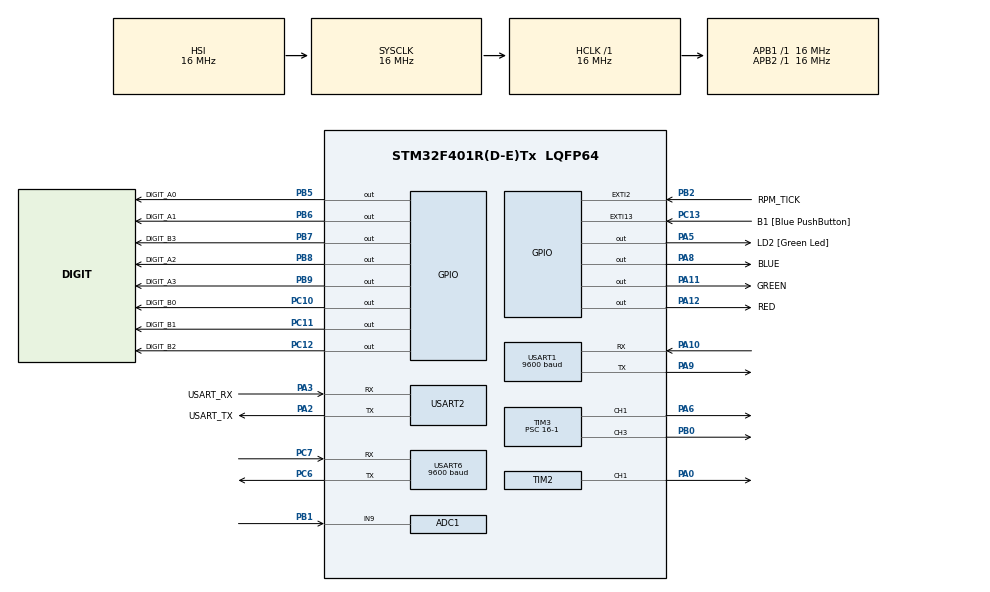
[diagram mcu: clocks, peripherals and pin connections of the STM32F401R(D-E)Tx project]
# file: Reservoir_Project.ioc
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ADC1.Channel-0\#ChannelRegularConversion=ADC_CHANNEL_9
ADC1.NbrOfConversionFlag=1
ADC1.Rank-0\#ChannelRegularConversion=1
ADC1.Resolution=ADC_RESOLUTION_8B
ADC1.SamplingTime-0\#ChannelRegularConversion=ADC_SAMPLETIME_15CYCLES
ADC1.ScanConvMode=ENABLE
ADC1.master=1
Mcu.Family=STM32F4
Mcu.Name=STM32F401R(D-E)Tx
Mcu.Package=LQFP64
NVIC.EXTI2_IRQn=true\:0\:0\:false\:false\:true\:true\:true\:true
NVIC.PriorityGroup=NVIC_PRIORITYGROUP_0
NVIC.TIM5_IRQn=true\:0\:0\:false\:false\:true\:true\:true\:true
NVIC.USART1_IRQn=true\:0\:0\:false\:false\:true\:true\:true\:true
NVIC.USART6_IRQn=true\:0\:0\:false\:false\:true\:true\:true\:true
PA0-WKUP.Signal=S_TIM2_CH1_ETR
PA10.Mode=Asynchronous
PA10.Signal=USART1_RX
PA11.GPIO_Label=GREEN
PA11.Signal=GPIO_Output
PA12.GPIO_Label=RED
PA12.Signal=GPIO_Output
PA13.GPIO_Label=TMS
PA13.Mode=Serial_Wire
PA13.Signal=SYS_JTMS-SWDIO
PA14.GPIO_Label=TCK
PA14.Mode=Serial_Wire
PA14.Signal=SYS_JTCK-SWCLK
PA2.GPIO_Label=USART_TX
PA2.GPIO_Mode=GPIO_MODE_AF_PP
PA2.GPIO_PuPd=GPIO_NOPULL
PA2.GPIO_Speed=GPIO_SPEED_FREQ_LOW
PA2.Mode=Asynchronous
PA2.Signal=USART2_TX
PA3.GPIO_Label=USART_RX
PA3.GPIO_Mode=GPIO_MODE_AF_PP
PA3.GPIO_PuPd=GPIO_NOPULL
PA3.GPIO_Speed=GPIO_SPEED_FREQ_LOW
PA3.Mode=Asynchronous
PA3.Signal=USART2_RX
PA5.GPIO_Label=LD2 [Green Led]
PA5.GPIO_Mode=GPIO_MODE_OUTPUT_PP
PA5.GPIO_PuPd=GPIO_NOPULL
PA5.GPIO_Speed=GPIO_SPEED_FREQ_LOW
PA5.Signal=GPIO_Output
PA6.Signal=S_TIM3_CH1
PA8.GPIO_Label=BLUE
PA8.Signal=GPIO_Output
PA9.Mode=Asynchronous
PA9.Signal=USART1_TX
PB0.Signal=S_TIM3_CH3
PB1.Signal=ADCx_IN9
PB2.GPIO_Label=RPM_TICK
PB2.Signal=GPXTI2
PB3.GPIO_Label=SWO
PB3.Signal=SYS_JTDO-SWO
PB5.GPIO_Label=DIGIT_A0
PB5.Signal=GPIO_Output
PB6.GPIO_Label=DIGIT_A1
PB6.Signal=GPIO_Output
PB7.GPIO_Label=DIGIT_B3
PB7.Signal=GPIO_Output
PB8.GPIO_Label=DIGIT_A2
PB8.Signal=GPIO_Output
PB9.GPIO_Label=DIGIT_A3
PB9.Signal=GPIO_Output
PC10.GPIO_Label=DIGIT_B0
PC10.Signal=GPIO_Output
PC11.GPIO_Label=DIGIT_B1
PC11.Signal=GPIO_Output
PC12.GPIO_Label=DIGIT_B2
PC12.Signal=GPIO_Output
PC13-ANTI_TAMP.GPIO_Label=B1 [Blue PushButton]
PC13-ANTI_TAMP.GPIO_ModeDefaultEXTI=GPIO_MODE_IT_FALLING
PC13-ANTI_TAMP.GPIO_PuPd=GPIO_NOPULL
PC13-ANTI_TAMP.Signal=GPXTI13
PC14-OSC32_IN.Mode=LSE-External-Oscillator
PC14-OSC32_IN.Signal=RCC_OSC32_IN
PC15-OSC32_OUT.Mode=LSE-External-Oscillator
PC15-OSC32_OUT.Signal=RCC_OSC32_OUT
PC6.Mode=Asynchronous
PC6.Signal=USART6_TX
PC7.Mode=Asynchronous
PC7.Signal=USART6_RX
PH0\ -\ OSC_IN.Mode=HSE-External-Clock-Source
PH0\ -\ OSC_IN.Signal=RCC_OSC_IN
PH1\ -\ OSC_OUT.Mode=HSE-External-Clock-Source
PH1\ -\ OSC_OUT.Signal=RCC_OSC_OUT
ProjectManager.HeapSize=0x200
ProjectManager.StackSize=0x400
ProjectManager.TargetToolchain=STM32CubeIDE
RCC.48MHZClocksFreq_Value=48000000
RCC.AHBFreq_Value=16000000
RCC.APB1Freq_Value=16000000
RCC.APB1TimFreq_Value=16000000
RCC.APB2Freq_Value=16000000
RCC.APB2TimFreq_Value=16000000
RCC.CortexFreq_Value=16000000
RCC.HCLKFreq_Value=16000000
RCC.HSE_VALUE=8000000
RCC.HSI_VALUE=16000000
RCC.PLLN=336
RCC.PLLP=RCC_PLLP_DIV4
RCC.PLLQ=7
RCC.SYSCLKFreq_VALUE=16000000
RCC.VCOOutputFreq_Value=336000000
SH.ADCx_IN9.0=ADC1_IN9,IN9
SH.S_TIM2_CH1_ETR.0=TIM2_CH1,PWM Generation1 CH1
SH.S_TIM3_CH1.0=TIM3_CH1,PWM Generation1 CH1
SH.S_TIM3_CH3.0=TIM3_CH3,PWM Generation3 CH3
TIM2.AutoReloadPreload=TIM_AUTORELOAD_PRELOAD_ENABLE
TIM2.Channel-PWM\ Generation1\ CH1=TIM_CHANNEL_1
TIM2.Period=20000-1
TIM2.Prescaler=16-1
TIM2.Pulse-PWM\ Generation1\ CH1=500-1
TIM3.AutoReloadPreload=TIM_AUTORELOAD_PRELOAD_ENABLE
TIM3.Channel-PWM\ Generation1\ CH1=TIM_CHANNEL_1
TIM3.Channel-PWM\ Generation3\ CH3=TIM_CHANNEL_3
TIM3.Period=2000-1
TIM3.Prescaler=16-1
TIM5.AutoReloadPreload=TIM_AUTORELOAD_PRELOAD_ENABLE
TIM5.Period=1000-1
TIM5.Prescaler=16000-1
USART1.BaudRate=9600
USART1.VirtualMode=VM_ASYNC
USART2.VirtualMode=VM_ASYNC
USART6.BaudRate=9600
USART6.VirtualMode=VM_ASYNC
VP_TIM2_VS_ClockSourceINT.Mode=Internal
VP_TIM3_VS_ClockSourceINT.Mode=Internal
VP_TIM5_VS_ClockSourceINT.Mode=Internal
board=NUCLEO-F401RE

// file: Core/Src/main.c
/* USER CODE BEGIN Header */
/**
 ******************************************************************************
 * @file           : main.c
 * @brief          : Main program body
 ******************************************************************************
 * @attention
 *
 * Copyright (c) 2023 STMicroelectronics.
 * All rights reserved.
 *
 * This software is licensed under terms that can be found in the LICENSE file
 * in the root directory of this software component.
 * If no LICENSE file comes with this software, it is provided AS-IS.
 *
 ******************************************************************************
 */
/* USER CODE END Header */
#include "main.h"

/* USER CODE BEGIN Includes */
#include "string.h"

#include "stdio.h"

#include <inttypes.h>

/* USER CODE END Includes */

/* USER CODE BEGIN PD */
#define MIN_D 30;
#define MAX_D 100;

// max PWM for the DC motor
const uint32_t MAX_PWM = 2000;

/* USER CODE END PD */

ADC_HandleTypeDef hadc1;

TIM_HandleTypeDef htim2;
TIM_HandleTypeDef htim3;
TIM_HandleTypeDef htim5;

UART_HandleTypeDef huart1;
UART_HandleTypeDef huart2;
UART_HandleTypeDef huart6;

/* USER CODE BEGIN PV */
// Mode of the Reservoir Project: 0 = SETUP, 1 = RUNNING
int mode = 0;
// timer interrupt
int time_changed = 1;
// keep track of zone
int zones[3] = {
  0
};

//for receiving terminal input
uint8_t byte[2];
int rpm_tick_count = 0;
uint8_t us100_Rx_flag = 0;
/* USER CODE END PV */

void SystemClock_Config(void);
static void MX_GPIO_Init(void);
static void MX_USART2_UART_Init(void);
static void MX_USART6_UART_Init(void);
static void MX_TIM3_Init(void);
static void MX_ADC1_Init(void);
static void MX_TIM2_Init(void);
static void MX_USART1_UART_Init(void);
static void MX_TIM5_Init(void);
/* USER CODE BEGIN PFP */
void DIGITS_Display(uint8_t DIGIT_A, uint8_t DIGIT_B);
/* USER CODE END PFP */

/* USER CODE BEGIN 0 */
int rcv_intpt_flag = 0;
int t_curr = 0;
int counter;
uint8_t us100_buffer[2] = {
  0
};
uint8_t cmd_dist = 0x55;
volatile uint16_t distance = 0;
// Buffer to write to terminal
uint8_t msg_buffer[512] = {
  0
};
// For potentiometer
void ADC_Select_CH(int CH) {
  ADC_ChannelConfTypeDef sConfig = {
    0
  };
  switch (CH) {
  case 0:
    sConfig.Channel = ADC_CHANNEL_0;
    sConfig.Rank = 1;
    if (HAL_ADC_ConfigChannel( & hadc1, & sConfig) != HAL_OK) {
      Error_Handler();
    }
    break;
  case 1:
    sConfig.Channel = ADC_CHANNEL_1;
    sConfig.Rank = 1;
    if (HAL_ADC_ConfigChannel( & hadc1, & sConfig) != HAL_OK) {
      Error_Handler();
    }
    break;
  case 2:
    sConfig.Channel = ADC_CHANNEL_2;
    sConfig.Rank = 1;
    if (HAL_ADC_ConfigChannel( & hadc1, & sConfig) != HAL_OK) {
      Error_Handler();
    }
    break;
  case 3:
    sConfig.Channel = ADC_CHANNEL_3;
    sConfig.Rank = 1;
    if (HAL_ADC_ConfigChannel( & hadc1, & sConfig) != HAL_OK) {
      Error_Handler();
    }
    break;
  case 4:
    sConfig.Channel = ADC_CHANNEL_4;
    sConfig.Rank = 1;
    if (HAL_ADC_ConfigChannel( & hadc1, & sConfig) != HAL_OK) {
      Error_Handler();
    }
    break;
  case 5:
    sConfig.Channel = ADC_CHANNEL_5;
    sConfig.Rank = 1;
    if (HAL_ADC_ConfigChannel( & hadc1, & sConfig) != HAL_OK) {
      Error_Handler();
    }
    break;
  case 6:
    sConfig.Channel = ADC_CHANNEL_6;
    sConfig.Rank = 1;
    if (HAL_ADC_ConfigChannel( & hadc1, & sConfig) != HAL_OK) {
      Error_Handler();
    }
    break;
  case 7:
    sConfig.Channel = ADC_CHANNEL_7;
    sConfig.Rank = 1;
    if (HAL_ADC_ConfigChannel( & hadc1, & sConfig) != HAL_OK) {
      Error_Handler();
    }
    break;
  case 8:
    sConfig.Channel = ADC_CHANNEL_8;
    sConfig.Rank = 1;
    if (HAL_ADC_ConfigChannel( & hadc1, & sConfig) != HAL_OK) {
      Error_Handler();
    }
    break;
  case 9:
    sConfig.Channel = ADC_CHANNEL_9;
    sConfig.Rank = 1;
    if (HAL_ADC_ConfigChannel( & hadc1, & sConfig) != HAL_OK) {
      Error_Handler();
    }
    break;
  case 10:
    sConfig.Channel = ADC_CHANNEL_10;
    sConfig.Rank = 1;
    if (HAL_ADC_ConfigChannel( & hadc1, & sConfig) != HAL_OK) {
      Error_Handler();
    }
    break;
  case 11:
    sConfig.Channel = ADC_CHANNEL_11;
    sConfig.Rank = 1;
    if (HAL_ADC_ConfigChannel( & hadc1, & sConfig) != HAL_OK) {
      Error_Handler();
    }
    break;
  case 12:
    sConfig.Channel = ADC_CHANNEL_12;
    sConfig.Rank = 1;
    if (HAL_ADC_ConfigChannel( & hadc1, & sConfig) != HAL_OK) {
      Error_Handler();
    }
    break;
  case 13:
    sConfig.Channel = ADC_CHANNEL_13;
    sConfig.Rank = 1;
    if (HAL_ADC_ConfigChannel( & hadc1, & sConfig) != HAL_OK) {
      Error_Handler();
    }
    break;
  case 14:
    sConfig.Channel = ADC_CHANNEL_14;
    sConfig.Rank = 1;
    if (HAL_ADC_ConfigChannel( & hadc1, & sConfig) != HAL_OK) {
      Error_Handler();
    }
    break;
  case 15:
    sConfig.Channel = ADC_CHANNEL_15;
    sConfig.Rank = 1;
    if (HAL_ADC_ConfigChannel( & hadc1, & sConfig) != HAL_OK) {
      Error_Handler();
    }
    break;
  }
}

// Displays digits in the timer board
void DIGITS_Display(uint8_t DIGIT_A, uint8_t DIGIT_B) {
  uint8_t DIGITA_VAL = 0x0F & DIGIT_A; //mask off higher4 bits
  int Abit0 = (DIGITA_VAL) & 1; // extract Abit0 of the 4-bit value
  int Abit1 = (DIGITA_VAL >> 1) & 1; // extract Abit1 of the 4-bit value
  int Abit2 = (DIGITA_VAL >> 2) & 1; // extract Abit2 of the 4-bit value
  int Abit3 = (DIGITA_VAL >> 3) & 1; // extract Abit3 of the 4-bit value

  uint8_t DIGITB_VAL = 0x0F & DIGIT_B; //mask off higher4 bits
  int Bbit0 = (DIGITB_VAL) & 1; // extract Bbit0 of the 4-bit value
  int Bbit1 = (DIGITB_VAL >> 1) & 1; // extract Bbit1 of the 4-bit value
  int Bbit2 = (DIGITB_VAL >> 2) & 1; // extract Bbit2 of the 4-bit value
  int Bbit3 = (DIGITB_VAL >> 3) & 1; // extract Bbit3 of the 4-bit value

  if (Abit0 == (0)) {
    HAL_GPIO_WritePin(GPIOB, DIGIT_A0_Pin, GPIO_PIN_RESET);
  } else {
    HAL_GPIO_WritePin(GPIOB, DIGIT_A0_Pin, GPIO_PIN_SET);

  }
  if (Abit1 == (0)) {
    HAL_GPIO_WritePin(GPIOB, DIGIT_A1_Pin, GPIO_PIN_RESET);
  } else {
    HAL_GPIO_WritePin(GPIOB, DIGIT_A1_Pin, GPIO_PIN_SET);

  }
  if (Abit2 == (0)) {
    HAL_GPIO_WritePin(GPIOB, DIGIT_A2_Pin, GPIO_PIN_RESET);
  } else {
    HAL_GPIO_WritePin(GPIOB, DIGIT_A2_Pin, GPIO_PIN_SET);

  }
  if (Abit3 == (0)) {
    HAL_GPIO_WritePin(GPIOB, DIGIT_A3_Pin, GPIO_PIN_RESET);
  } else {
    HAL_GPIO_WritePin(GPIOB, DIGIT_A3_Pin, GPIO_PIN_SET);

  }

  if (Bbit0 == (0)) {
    HAL_GPIO_WritePin(GPIOC, DIGIT_B0_Pin, GPIO_PIN_RESET);
  } else {
    HAL_GPIO_WritePin(GPIOC, DIGIT_B0_Pin, GPIO_PIN_SET);

  }
  if (Bbit1 == (0)) {
    HAL_GPIO_WritePin(GPIOC, DIGIT_B1_Pin, GPIO_PIN_RESET);
  } else {
    HAL_GPIO_WritePin(GPIOC, DIGIT_B1_Pin, GPIO_PIN_SET);

  }
  if (Bbit2 == (0)) {
    HAL_GPIO_WritePin(GPIOC, DIGIT_B2_Pin, GPIO_PIN_RESET);
  } else {
    HAL_GPIO_WritePin(GPIOC, DIGIT_B2_Pin, GPIO_PIN_SET);

  }
  if (Bbit3 == (0)) {
    HAL_GPIO_WritePin(GPIOB, DIGIT_B3_Pin, GPIO_PIN_RESET);
  } else {
    HAL_GPIO_WritePin(GPIOB, DIGIT_B3_Pin, GPIO_PIN_SET);

  }
}

/* USER CODE END 0 */

int main(void)
{

  /* MCU Configuration--------------------------------------------------------*/

  /* Reset of all peripherals, Initializes the Flash interface and the Systick. */
  HAL_Init();

  /* Configure the system clock */
  SystemClock_Config();

  /* Initialize all configured peripherals */
  MX_GPIO_Init();
  MX_USART2_UART_Init();
  MX_USART6_UART_Init();
  MX_TIM3_Init();
  MX_ADC1_Init();
  MX_TIM2_Init();
  MX_USART1_UART_Init();
  MX_TIM5_Init();
  /* USER CODE BEGIN 2 */

  // store user input in here
  int inlet_choice;
  int z1_choice;
  int z2_choice;
  int z3_choice;

  int t_in_start;
  int t_in_stop;
  int t_z1_start;
  int t_z1_stop;
  int t_z2_start;
  int t_z2_stop;
  int t_z3_start;
  int t_z3_stop;

  // For SERVO MOTOR
  int TIM2_Ch1_DCVAL = 500;
  int TIM2_CH1_STEP = 125;

  HAL_TIM_Base_Start( & htim2);
  HAL_TIM_PWM_Start( & htim2, TIM_CHANNEL_1);
  TIM2 -> PSC = 16 - 1;
  TIM2 -> ARR = 20000 - 1;
  TIM2 -> CCR1 = TIM2_Ch1_DCVAL;

  // For DC MOTOR
  int TIM3_Ch1_DCVAL = 0;
  int TIM3_Ch3_DCVAL = 0;
  int TIM3_Ch1_STEP = 200;
  TIM3 -> PSC = 16 - 1;
  TIM3 -> ARR = 2000 - 1;
  TIM3 -> CCR1 = 0;
  HAL_TIM_Base_Init( & htim3);
  HAL_TIM_PWM_Start( & htim3, TIM_CHANNEL_1);
  HAL_TIM_PWM_Start( & htim3, TIM_CHANNEL_3);

  // start up TIMER 5 for one second interrupts
  HAL_TIM_Base_Start_IT( & htim5);
  /* USER CODE END 2 */

  /* Infinite loop */
  /* USER CODE BEGIN WHILE */

  // Set Green LED on Nucleo Board to OFF
  HAL_GPIO_WritePin(GPIOA, LD2_Pin, GPIO_PIN_RESET);

  //here DC motor needs to be off

  // Display SETUP mode on terminal
  sprintf((char * ) msg_buffer, "SETUP MODE");
  HAL_UART_Transmit( & huart6, msg_buffer, strlen((char * ) msg_buffer), 1000);

  // ZONE/INLET PWM INFO
  sprintf((char * ) msg_buffer, "\r\nUse the following list for entering the PWM option for the MOTOR SPEED for a ZONE or INLET:");
  HAL_UART_Transmit( & huart6, msg_buffer, strlen((char * ) msg_buffer), 1000);
  sprintf((char * ) msg_buffer, "\r\n0) Manual Control (the Potentiometer setting in Run Mode for the chosen Zone or Inlet);");
  HAL_UART_Transmit( & huart6, msg_buffer, strlen((char * ) msg_buffer), 1000);
  sprintf((char * ) msg_buffer, "\r\n1) 60% PWM;");
  HAL_UART_Transmit( & huart6, msg_buffer, strlen((char * ) msg_buffer), 1000);
  sprintf((char * ) msg_buffer, "\r\n2) 80% PWM;");
  HAL_UART_Transmit( & huart6, msg_buffer, strlen((char * ) msg_buffer), 1000);
  sprintf((char * ) msg_buffer, "\r\n3) 99% PWM;\r\n");
  HAL_UART_Transmit( & huart6, msg_buffer, strlen((char * ) msg_buffer), 1000);

  DIGITS_Display(0, 0);

  while (1) {
    /* USER CODE END WHILE */

    /* USER CODE BEGIN 3 */
    // PART A DISPLAY OPTIONS
    // Provide message to cover INLET choice
    rcv_intpt_flag = 00; // this flag is used to see if an interrupt has occurred
    HAL_UART_Receive_IT( & huart6, & byte, 1); // enables the receiver to create an interrupt
    sprintf((char * ) msg_buffer, "\r\nINLET MOTOR SPEED PWM (option 0-3):");
    HAL_UART_Transmit( & huart6, msg_buffer, strlen((char * ) msg_buffer), 1000);
    while (rcv_intpt_flag == 00) {};
    HAL_UART_Transmit( & huart6, & byte, 1, 100);
    inlet_choice = byte[0] - 48;

    // Provide message to cover ZONE 1 choice
    rcv_intpt_flag = 00;
    HAL_UART_Receive_IT( & huart6, & byte, 1);
    sprintf((char * ) msg_buffer, "\r\nZONE 1 MOTOR SPEED PWM (option 0-3):");
    HAL_UART_Transmit( & huart6, msg_buffer, strlen((char * ) msg_buffer), 1000);
    while (rcv_intpt_flag == 00) {};
    HAL_UART_Transmit( & huart6, & byte, 1, 100);
    z1_choice = byte[0] - 48;

    // Provide message to cover ZONE 2 choice
    rcv_intpt_flag = 00;
    HAL_UART_Receive_IT( & huart6, & byte, 1);
    sprintf((char * ) msg_buffer, "\r\nZONE 2 MOTOR SPEED PWM (option 0-3):");
    HAL_UART_Transmit( & huart6, msg_buffer, strlen((char * ) msg_buffer), 1000);
    while (rcv_intpt_flag == 00) {};
    HAL_UART_Transmit( & huart6, & byte, 1, 100);
    z2_choice = byte[0] - 48;

    // Provide message to cover ZONE 3 choice
    rcv_intpt_flag = 00;
    HAL_UART_Receive_IT( & huart6, & byte, 1);
    sprintf((char * ) msg_buffer, "\r\nZONE 3 MOTOR SPEED PWM (option 0-3):");
    HAL_UART_Transmit( & huart6, msg_buffer, strlen((char * ) msg_buffer), 1000);
    while (rcv_intpt_flag == 00) {};
    HAL_UART_Transmit( & huart6, & byte, 1, 100);
    z3_choice = byte[0] - 48;

    // PART B DISPLAY OPTIONS

    // GET CURRENT CLOCK TIME
    sprintf((char * ) msg_buffer, "\r\nCURRENT WALL CLOCK TIME (0-23):");
    HAL_UART_Transmit( & huart6, msg_buffer, strlen((char * ) msg_buffer), 1000);
    rcv_intpt_flag = 00;
    HAL_UART_Receive_IT( & huart6, & byte, 2);
    while (rcv_intpt_flag == 00) {};
    HAL_UART_Transmit( & huart6, & byte, 2, 100);
    t_curr = (byte[0] - 48) * 10 + (byte[1] - 48);

    // GET INLET WALL CLOCK TIME
    sprintf((char * ) msg_buffer, "\r\nINLET WALL CLOCK START TIME (0-23):");
    HAL_UART_Transmit( & huart6, msg_buffer, strlen((char * ) msg_buffer), 1000);
    rcv_intpt_flag = 00;
    HAL_UART_Receive_IT( & huart6, & byte, 2);
    while (rcv_intpt_flag == 00) {};
    HAL_UART_Transmit( & huart6, & byte, 2, 100);
    t_in_start = (byte[0] - 48) * 10 + (byte[1] - 48);

    sprintf((char * ) msg_buffer, "\r\nINLET WALL CLOCK STOP TIME (0-23):");
    HAL_UART_Transmit( & huart6, msg_buffer, strlen((char * ) msg_buffer), 1000);
    rcv_intpt_flag = 00;
    HAL_UART_Receive_IT( & huart6, & byte, 2);
    while (rcv_intpt_flag == 00) {};
    HAL_UART_Transmit( & huart6, & byte, 2, 100);
    t_in_stop = (byte[0] - 48) * 10 + (byte[1] - 48);

    // GET ZONE 1 WALL CLOCK TIME
    sprintf((char * ) msg_buffer, "\r\nZONE 1 WALL CLOCK START TIME (0-23):");
    HAL_UART_Transmit( & huart6, msg_buffer, strlen((char * ) msg_buffer), 1000);
    rcv_intpt_flag = 00;
    HAL_UART_Receive_IT( & huart6, & byte, 2);
    while (rcv_intpt_flag == 00) {};
    HAL_UART_Transmit( & huart6, & byte, 2, 100);
    t_z1_start = (byte[0] - 48) * 10 + (byte[1] - 48);

    sprintf((char * ) msg_buffer, "\r\nZONE 1 WALL CLOCK STOP TIME (0-23):");
    HAL_UART_Transmit( & huart6, msg_buffer, strlen((char * ) msg_buffer), 1000);
    rcv_intpt_flag = 00;
    HAL_UART_Receive_IT( & huart6, & byte, 2);
    while (rcv_intpt_flag == 00) {};
    HAL_UART_Transmit( & huart6, & byte, 2, 100);
    t_z1_stop = (byte[0] - 48) * 10 + (byte[1] - 48);

    // GET ZONE 2 WALL CLOCK TIME
    sprintf((char * ) msg_buffer, "\r\nZONE 2 WALL CLOCK START TIME (0-23):");
    HAL_UART_Transmit( & huart6, msg_buffer, strlen((char * ) msg_buffer), 1000);
    rcv_intpt_flag = 00;
    HAL_UART_Receive_IT( & huart6, & byte, 2);
    while (rcv_intpt_flag == 00) {};
    HAL_UART_Transmit( & huart6, & byte, 2, 100);
    t_z2_start = (byte[0] - 48) * 10 + (byte[1] - 48);

    sprintf((char * ) msg_buffer, "\r\nZONE 2 WALL CLOCK STOP TIME (0-23):");
    HAL_UART_Transmit( & huart6, msg_buffer, strlen((char * ) msg_buffer), 1000);
    rcv_intpt_flag = 00;
    HAL_UART_Receive_IT( & huart6, & byte, 2);
    while (rcv_intpt_flag == 00) {};
    HAL_UART_Transmit( & huart6, & byte, 2, 100);
    t_z2_stop = (byte[0] - 48) * 10 + (byte[1] - 48);

    // GET ZONE 3 WALL CLOCK TIME
    sprintf((char * ) msg_buffer, "\r\nZONE 3 WALL CLOCK START TIME (0-23):");
    HAL_UART_Transmit( & huart6, msg_buffer, strlen((char * ) msg_buffer), 1000);
    rcv_intpt_flag = 00;
    HAL_UART_Receive_IT( & huart6, & byte, 2);
    while (rcv_intpt_flag == 00) {};
    HAL_UART_Transmit( & huart6, & byte, 2, 100);
    t_z3_start = (byte[0] - 48) * 10 + (byte[1] - 48);

    sprintf((char * ) msg_buffer, "\r\nZONE 3 WALL CLOCK STOP TIME (0-23):");
    HAL_UART_Transmit( & huart6, msg_buffer, strlen((char * ) msg_buffer), 1000);
    rcv_intpt_flag = 00;
    HAL_UART_Receive_IT( & huart6, & byte, 2);
    while (rcv_intpt_flag == 00) {};
    HAL_UART_Transmit( & huart6, & byte, 2, 100);
    t_z3_stop = (byte[0] - 48) * 10 + (byte[1] - 48);

    while ((HAL_GPIO_ReadPin(GPIOC, B1_Pin))) {
      HAL_GPIO_WritePin(GPIOA, LD2_Pin, GPIO_PIN_SET);
      HAL_Delay(250);
      HAL_GPIO_WritePin(GPIOA, LD2_Pin, GPIO_PIN_RESET);
      HAL_Delay(250);
    }

    // as soon as it comes out of the while loop - BLUEe button has been pushed
    // start run mode
    // Display RUN mode on terminal
    sprintf((char * ) msg_buffer, "\r\nRUN MODE");
    HAL_UART_Transmit( & huart6, msg_buffer, strlen((char * ) msg_buffer), 1000);

    // the green led stays on in run mode
    HAL_GPIO_WritePin(GPIOA, LD2_Pin, GPIO_PIN_SET);

    // Let's compare all the zone times to see which one is going to go first
    if (t_z1_start < t_z2_start && t_z1_start < t_z3_start) {
      zones[0] = 1;
      if (t_z2_start < t_z3_start) {
        zones[1] = 2;
        zones[2] = 3;
      } else {
        zones[1] = 3;
        zones[2] = 2;
      }
    }

    if (t_z2_start < t_z1_start && t_z2_start < t_z3_start) {
      zones[0] = 2;
      if (t_z1_start < t_z3_start) {
        zones[1] = 1;
        zones[2] = 3;
      } else {
        zones[1] = 3;
        zones[2] = 1;
      }
    }

    if (t_z3_start < t_z1_start && t_z3_start < t_z2_start) {
      zones[0] = 3;
      if (t_z1_start < t_z2_start) {
        zones[1] = 1;
        zones[2] = 2;
      } else {
        zones[1] = 2;
        zones[2] = 1;
      }
    }

    //keep track of which zone we are in
    int zone = zones[0];
    // run mode starts with setting the wall clock times
    mode = 1;

    sprintf((char * ) msg_buffer, "\r\nWall-Clock Time | Zone/Inlet | Motor Speed %%PWM | Motor RPM | Water Reservoir Depth\n\r");
    HAL_UART_Transmit( & huart6, msg_buffer, strlen((char * ) msg_buffer), 1000);

    // While inlet start time has not occurred
    while (t_curr != t_in_start) {};

    // Okay, so inlet time has now started
    // Turn on the LED to indicate PURPLE_PIN
    HAL_GPIO_WritePin(GPIOA, GREEN_Pin, GPIO_PIN_RESET);
    HAL_GPIO_WritePin(GPIOA, BLUE_Pin, GPIO_PIN_RESET);
    HAL_GPIO_WritePin(GPIOA, RED_Pin, GPIO_PIN_RESET);

    HAL_GPIO_WritePin(GPIOA, BLUE_Pin, GPIO_PIN_SET);
    HAL_GPIO_WritePin(GPIOA, RED_Pin, GPIO_PIN_SET);

    // SET SERVO FOR INLET ZONE HERE
    TIM3 -> CCR1 = 0;
    TIM2 -> CCR1 = 2500;
    TIM3 -> CCR3 = 0;
    HAL_Delay(2000);
    time_changed = 1;
    rpm_tick_count = 0;

    while ((t_in_start <= t_curr) && (t_curr <= t_in_stop)) {
      if (time_changed == 1) {
        int motor_speed = 0;

        // MOTOR PWM
        if (inlet_choice == 0) {
          ADC_Select_CH(9);
          HAL_ADC_Start( & hadc1);
          HAL_ADC_PollForConversion( & hadc1, 1000);
          uint8_t ADC_CH9 = HAL_ADC_GetValue( & hadc1) * 100 / 255;
          HAL_ADC_Stop( & hadc1);
          motor_speed = ADC_CH9;
        }
        if (inlet_choice == 1) motor_speed = 60;
        if (inlet_choice == 2) motor_speed = 80;
        if (inlet_choice == 3) motor_speed = 99;

        //change TIM3->CCR1 between 1200 and 2000
        TIM3 -> CCR1 = 20 * (motor_speed);
        HAL_Delay(500);

        HAL_UART_Receive_IT( & huart1, us100_buffer, 2);
        HAL_UART_Transmit( & huart1, & cmd_dist, 1, 500);
        while (us100_Rx_flag == (00)) {};
        distance = (us100_buffer[0] << 8) | (us100_buffer[1]);

        if (distance > 250) {
          uint8_t display_distance = 0;
          DIGITS_Display(display_distance, display_distance);
          //sprintf((char * ) msg_buffer, "\r\nRESERVOIR IS EMPTY\n\r");
          HAL_UART_Transmit( & huart6, msg_buffer, strlen((char * ) msg_buffer), 1000);

          	// the green led stays on in run mode
			HAL_GPIO_WritePin(GPIOA, LD2_Pin, GPIO_PIN_RESET);
			while (1) {
			  HAL_GPIO_WritePin(GPIOA, RED_Pin, GPIO_PIN_SET);
			  HAL_Delay(1000);
			  HAL_GPIO_WritePin(GPIOA, RED_Pin, GPIO_PIN_RESET);

			  HAL_GPIO_WritePin(GPIOA, BLUE_Pin, GPIO_PIN_SET);
			  HAL_Delay(1000);
			  HAL_GPIO_WritePin(GPIOA, BLUE_Pin, GPIO_PIN_RESET);

			  HAL_GPIO_WritePin(GPIOA, GREEN_Pin, GPIO_PIN_SET);
			  HAL_Delay(1000);
			  HAL_GPIO_WritePin(GPIOA, GREEN_Pin, GPIO_PIN_RESET);
			}
        } else if (distance > 30) {
          uint8_t display_distance = (100 - ((float)(distance)-30.0)*(100.0/220.0) );
          DIGITS_Display(display_distance / 10, display_distance % 10);
        } else {
          uint8_t display_distance = 9;
          HAL_UART_Transmit( & huart6, msg_buffer, strlen((char*) msg_buffer), 1000);
          DIGITS_Display(display_distance, display_distance);
        }

        us100_Rx_flag = 00;

        uint8_t rpm_int = rpm_tick_count;
        uint32_t rpm_val = (rpm_int) * 6 / 20;
        sprintf((char * ) msg_buffer, "\r        %d        |    Inlet   |        %d%%       |     %d    |         %d     \n", t_curr, motor_speed, rpm_val, distance);

        HAL_UART_Transmit( & huart6, msg_buffer, strlen((char * ) msg_buffer), 1000);

        time_changed = 0;
      }
    };

    HAL_GPIO_WritePin(GPIOA, RED_Pin, GPIO_PIN_RESET);
    HAL_GPIO_WritePin(GPIOA, BLUE_Pin, GPIO_PIN_RESET);
    HAL_GPIO_WritePin(GPIOA, GREEN_Pin, GPIO_PIN_RESET);
    HAL_Delay(500);
    TIM3 -> CCR1 = 0;
    int i = 0;
    while (i < 3) {
      zone = zones[i];

      if (zone == 1) {
        // SET SERVO MOTOR FOR ZONE 1
    	TIM2 -> CCR1 = 0;
        TIM2 -> CCR1 = 2000;
        HAL_Delay(2000);

        // LED
        HAL_GPIO_WritePin(GPIOA, RED_Pin, GPIO_PIN_SET);
        HAL_Delay(500);
        rpm_tick_count = 0;

        while ((t_z1_start <= t_curr) && (t_curr <= t_z1_stop)) {
          if (time_changed == 1) {
            int motor_speed = 0;

            // MOTOR PWM
            if (z1_choice == 0) {
              ADC_Select_CH(9);
              HAL_ADC_Start( & hadc1);
              HAL_ADC_PollForConversion( & hadc1, 1000);
              uint8_t ADC_CH9 = HAL_ADC_GetValue( & hadc1) * 100 / 255;
              HAL_ADC_Stop( & hadc1);
              motor_speed = ADC_CH9;
            }
            if (z1_choice == 1) motor_speed = 60;
            if (z1_choice == 2) motor_speed = 80;
            if (z1_choice == 3) motor_speed = 99;

            //change TIM3->CCR1 between 1200 and 2000
            TIM3 -> CCR3 = 20 * (motor_speed);
            HAL_Delay(500);

            HAL_UART_Receive_IT( & huart1, us100_buffer, 2);
            HAL_UART_Transmit( & huart1, & cmd_dist, 1, 500);
            while (us100_Rx_flag == (00)) {};
            distance = (us100_buffer[0] << 8) | (us100_buffer[1]);
            if (distance > 250) {
			  uint8_t display_distance = 0;
			  DIGITS_Display(display_distance, display_distance);

			  //Stop DC Motor
			  TIM3 -> CCR3 = 0;
			  TIM3 -> CCR1 = 0;
			  sprintf((char * ) msg_buffer, "\r\nRESERVOIR IS EMPTY\n\r");
			  HAL_UART_Transmit( & huart6, msg_buffer, strlen((char * ) msg_buffer), 1000);

				// the green led stays on in run mode
				HAL_GPIO_WritePin(GPIOA, LD2_Pin, GPIO_PIN_RESET);
				while (1) {
				  HAL_GPIO_WritePin(GPIOA, RED_Pin, GPIO_PIN_SET);
				  HAL_Delay(1000);
				  HAL_GPIO_WritePin(GPIOA, RED_Pin, GPIO_PIN_RESET);

				  HAL_GPIO_WritePin(GPIOA, BLUE_Pin, GPIO_PIN_SET);
				  HAL_Delay(1000);
				  HAL_GPIO_WritePin(GPIOA, BLUE_Pin, GPIO_PIN_RESET);

				  HAL_GPIO_WritePin(GPIOA, GREEN_Pin, GPIO_PIN_SET);
				  HAL_Delay(1000);
				  HAL_GPIO_WritePin(GPIOA, GREEN_Pin, GPIO_PIN_RESET);
				}
			} else if (distance > 30) {
				uint8_t display_distance = (100 - ((float)(distance)-30.0)*(100.0/220.0) );
			  DIGITS_Display(display_distance / 10, display_distance % 10);
			} else {
			  uint8_t display_distance = 9;
			  HAL_UART_Transmit( & huart6, msg_buffer, strlen((char*) msg_buffer), 1000);
			  DIGITS_Display(display_distance, display_distance);
			}
            us100_Rx_flag = 00;

            uint32_t rpm_val = (rpm_tick_count) * 6 / 20;
            sprintf((char * ) msg_buffer, "\r        %d        |    Zone 1  |        %d%%       |     %d    |         %d     \n", t_curr, motor_speed, rpm_val, distance);
            rpm_tick_count = 0;

            HAL_UART_Transmit( & huart6, msg_buffer, strlen((char * ) msg_buffer), 1000);

            time_changed = 0;
          }
        }

        i++;

        HAL_GPIO_WritePin(GPIOA, RED_Pin, GPIO_PIN_RESET);
        HAL_Delay(500);
      }

      if (zone == 2) {
        // SET SERVO MOTOR FOR ZONE 2
    	TIM2 -> CCR1 = 0;
        TIM2 -> CCR1 = 1500;
        HAL_Delay(2000);
        // LED
        HAL_GPIO_WritePin(GPIOA, BLUE_Pin, GPIO_PIN_SET);
        HAL_Delay(500);
        rpm_tick_count = 0;

        while ((t_z2_start <= t_curr) && (t_curr <= t_z2_stop)) {
          if (time_changed == 1) {
            int motor_speed = 0;

            // MOTOR PWM
            if (z2_choice == 0) {
              ADC_Select_CH(9);
              HAL_ADC_Start( & hadc1);
              HAL_ADC_PollForConversion( & hadc1, 1000);
              uint8_t ADC_CH9 = HAL_ADC_GetValue( & hadc1) * 100 / 255;
              HAL_ADC_Stop( & hadc1);
              motor_speed = ADC_CH9;
            }
            if (z2_choice == 1) motor_speed = 60;
            if (z2_choice == 2) motor_speed = 80;
            if (z2_choice == 3) motor_speed = 99;

            //change TIM3->CCR1 between 1200 and 2000
            TIM3 -> CCR3 = 20 * (motor_speed);
            HAL_Delay(500);

            HAL_UART_Receive_IT( & huart1, us100_buffer, 2);
            HAL_UART_Transmit( & huart1, & cmd_dist, 1, 500);
            while (us100_Rx_flag == (00)) {};
            distance = (us100_buffer[0] << 8) | (us100_buffer[1]);
            if (distance > 250) {
			  uint8_t display_distance = 0;
			  DIGITS_Display(display_distance, display_distance);

			  //Stop DC Motor
			  TIM3 -> CCR3 = 0;
			  TIM3 -> CCR1 = 0;
			  sprintf((char * ) msg_buffer, "\r\nRESERVOIR IS EMPTY\n\r");
			  HAL_UART_Transmit( & huart6, msg_buffer, strlen((char * ) msg_buffer), 1000);

			  //Stop DC Motor
			  TIM3 -> CCR3 = 0;
			  TIM3 -> CCR1 = 0;

				// the green led stays on in run mode
				HAL_GPIO_WritePin(GPIOA, LD2_Pin, GPIO_PIN_RESET);
				while (1) {
				  HAL_GPIO_WritePin(GPIOA, RED_Pin, GPIO_PIN_SET);
				  HAL_Delay(1000);
				  HAL_GPIO_WritePin(GPIOA, RED_Pin, GPIO_PIN_RESET);

				  HAL_GPIO_WritePin(GPIOA, BLUE_Pin, GPIO_PIN_SET);
				  HAL_Delay(1000);
				  HAL_GPIO_WritePin(GPIOA, BLUE_Pin, GPIO_PIN_RESET);

				  HAL_GPIO_WritePin(GPIOA, GREEN_Pin, GPIO_PIN_SET);
				  HAL_Delay(1000);
				  HAL_GPIO_WritePin(GPIOA, GREEN_Pin, GPIO_PIN_RESET);
				}
			} else if (distance > 30) {
			  uint8_t display_distance = (100 - ((float)(distance)-30.0)*(100.0/220.0) );
			  DIGITS_Display(display_distance / 10, display_distance % 10);
			} else {
			  uint8_t display_distance = 9;
			  HAL_UART_Transmit( & huart6, msg_buffer, strlen((char*) msg_buffer), 1000);
			  DIGITS_Display(display_distance, display_distance);
			}
            us100_Rx_flag = 00;

            uint8_t rpm_int = rpm_tick_count;
            uint32_t rpm_val = (rpm_int) * 6 / 20;
            sprintf((char * ) msg_buffer, "\r        %d        |    Zone 2  |        %d%%       |     %d    |       %d      \n", t_curr, motor_speed, rpm_val, distance);
            rpm_tick_count = 0;

            HAL_UART_Transmit( & huart6, msg_buffer, strlen((char * ) msg_buffer), 1000);

            time_changed = 0;
          }
        }

        i++;
        HAL_GPIO_WritePin(GPIOA, BLUE_Pin, GPIO_PIN_RESET);
        HAL_Delay(500);
      }

      if (zone == 3) {
        // SET SERVO MOTOR FOR ZONE 3
    	TIM2 -> CCR1 = 0;
        TIM2 -> CCR1 = 1000;
        HAL_Delay(2000);
        // LED
        HAL_GPIO_WritePin(GPIOA, GREEN_Pin, GPIO_PIN_SET);
        HAL_Delay(500);
        rpm_tick_count = 0;

        while ((t_z3_start <= t_curr) && (t_curr <= t_z3_stop)) {
          if (time_changed == 1) {
            int motor_speed = 0;

            // MOTOR PWM
            if (z3_choice == 0) {
              ADC_Select_CH(9);
              HAL_ADC_Start( & hadc1);
              HAL_ADC_PollForConversion( & hadc1, 1000);
              uint8_t ADC_CH9 = HAL_ADC_GetValue( & hadc1) * 100 / 255;
              HAL_ADC_Stop( & hadc1);
              motor_speed = ADC_CH9;
            }
            if (z3_choice == 1) motor_speed = 60;
            if (z3_choice == 2) motor_speed = 80;
            if (z3_choice == 3) motor_speed = 99;

            //change TIM3->CCR1 between 1200 and 2000
            TIM3 -> CCR3 = 20 * (motor_speed);
            HAL_Delay(500);

            HAL_UART_Receive_IT( & huart1, us100_buffer, 2);
            HAL_UART_Transmit( & huart1, & cmd_dist, 1, 500);
            while (us100_Rx_flag == (00)) {};
            distance = (us100_buffer[0] << 8) | (us100_buffer[1]);
            if (distance > 250) {
			  uint8_t display_distance = 0;
			  DIGITS_Display(display_distance, display_distance);

			  //Stop DC Motor
			  TIM3 -> CCR3 = 0;
			  TIM3 -> CCR1 = 0;
			  sprintf((char * ) msg_buffer, "\r\nRESERVOIR IS EMPTY\n\r");
			  HAL_UART_Transmit( & huart6, msg_buffer, strlen((char * ) msg_buffer), 1000);

			  //Stop DC Motor
			  TIM3 -> CCR3 = 0;
			  TIM3 -> CCR1 = 0;

				// the green led stays on in run mode
				HAL_GPIO_WritePin(GPIOA, LD2_Pin, GPIO_PIN_RESET);
				while (1) {
				  HAL_GPIO_WritePin(GPIOA, RED_Pin, GPIO_PIN_SET);
				  HAL_Delay(1000);
				  HAL_GPIO_WritePin(GPIOA, RED_Pin, GPIO_PIN_RESET);

				  HAL_GPIO_WritePin(GPIOA, BLUE_Pin, GPIO_PIN_SET);
				  HAL_Delay(1000);
				  HAL_GPIO_WritePin(GPIOA, BLUE_Pin, GPIO_PIN_RESET);

				  HAL_GPIO_WritePin(GPIOA, GREEN_Pin, GPIO_PIN_SET);
				  HAL_Delay(1000);
				  HAL_GPIO_WritePin(GPIOA, GREEN_Pin, GPIO_PIN_RESET);
				}
			} else if (distance > 30) {
			  uint8_t display_distance = (100 - ((float)(distance)-30.0)*(100.0/220.0) );
			  DIGITS_Display(display_distance / 10, display_distance % 10);
			} else {
			  uint8_t display_distance = 9;
			  HAL_UART_Transmit( & huart6, msg_buffer, strlen((char*) msg_buffer), 1000);
			  DIGITS_Display(display_distance, display_distance);
			}
            us100_Rx_flag = 00;

            uint32_t rpm_val = (rpm_tick_count) * 6 / 20;
            sprintf((char * ) msg_buffer, "\r         %d       |    Zone 3  |        %d%%       |     %d    |           %d     \n", t_curr, motor_speed, rpm_val, distance);
            rpm_tick_count = 0;

            HAL_UART_Transmit( & huart6, msg_buffer, strlen((char * ) msg_buffer), 1000);

            time_changed = 0;
          }
        }
        i++;
        HAL_GPIO_WritePin(GPIOA, GREEN_Pin, GPIO_PIN_RESET);
        HAL_Delay(500);
      }
    }

    TIM3 -> CCR3 = 0;
    TIM3 -> CCR1 = 0;
    while (1) {};
  }
  /* USER CODE END 3 */
}

void SystemClock_Config(void)
{
  RCC_OscInitTypeDef RCC_OscInitStruct = {0};
  RCC_ClkInitTypeDef RCC_ClkInitStruct = {0};

  /** Configure the main internal regulator output voltage
  */
  __HAL_RCC_PWR_CLK_ENABLE();
  __HAL_PWR_VOLTAGESCALING_CONFIG(PWR_REGULATOR_VOLTAGE_SCALE2);

  /** Initializes the RCC Oscillators according to the specified parameters
  * in the RCC_OscInitTypeDef structure.
  */
  RCC_OscInitStruct.OscillatorType = RCC_OSCILLATORTYPE_HSI;
  RCC_OscInitStruct.HSIState = RCC_HSI_ON;
  RCC_OscInitStruct.HSICalibrationValue = RCC_HSICALIBRATION_DEFAULT;
  RCC_OscInitStruct.PLL.PLLState = RCC_PLL_NONE;
  if (HAL_RCC_OscConfig(&RCC_OscInitStruct) != HAL_OK)
  {
    Error_Handler();
  }

  /** Initializes the CPU, AHB and APB buses clocks
  */
  RCC_ClkInitStruct.ClockType = RCC_CLOCKTYPE_HCLK|RCC_CLOCKTYPE_SYSCLK
                              |RCC_CLOCKTYPE_PCLK1|RCC_CLOCKTYPE_PCLK2;
  RCC_ClkInitStruct.SYSCLKSource = RCC_SYSCLKSOURCE_HSI;
  RCC_ClkInitStruct.AHBCLKDivider = RCC_SYSCLK_DIV1;
  RCC_ClkInitStruct.APB1CLKDivider = RCC_HCLK_DIV1;
  RCC_ClkInitStruct.APB2CLKDivider = RCC_HCLK_DIV1;

  if (HAL_RCC_ClockConfig(&RCC_ClkInitStruct, FLASH_LATENCY_0) != HAL_OK)
  {
    Error_Handler();
  }
}

static void MX_ADC1_Init(void)
{

  ADC_ChannelConfTypeDef sConfig = {0};

  /** Configure the global features of the ADC (Clock, Resolution, Data Alignment and number of conversion)
  */
  hadc1.Instance = ADC1;
  hadc1.Init.ClockPrescaler = ADC_CLOCK_SYNC_PCLK_DIV2;
  hadc1.Init.Resolution = ADC_RESOLUTION_8B;
  hadc1.Init.ScanConvMode = ENABLE;
  hadc1.Init.ContinuousConvMode = DISABLE;
  hadc1.Init.DiscontinuousConvMode = DISABLE;
  hadc1.Init.ExternalTrigConvEdge = ADC_EXTERNALTRIGCONVEDGE_NONE;
  hadc1.Init.ExternalTrigConv = ADC_SOFTWARE_START;
  hadc1.Init.DataAlign = ADC_DATAALIGN_RIGHT;
  hadc1.Init.NbrOfConversion = 1;
  hadc1.Init.DMAContinuousRequests = DISABLE;
  hadc1.Init.EOCSelection = ADC_EOC_SINGLE_CONV;
  if (HAL_ADC_Init(&hadc1) != HAL_OK)
  {
    Error_Handler();
  }

  /** Configure for the selected ADC regular channel its corresponding rank in the sequencer and its sample time.
  */
  sConfig.Channel = ADC_CHANNEL_9;
  sConfig.Rank = 1;
  sConfig.SamplingTime = ADC_SAMPLETIME_15CYCLES;
  if (HAL_ADC_ConfigChannel(&hadc1, &sConfig) != HAL_OK)
  {
    Error_Handler();
  }

}

static void MX_TIM2_Init(void)
{

  TIM_ClockConfigTypeDef sClockSourceConfig = {0};
  TIM_MasterConfigTypeDef sMasterConfig = {0};
  TIM_OC_InitTypeDef sConfigOC = {0};

  htim2.Instance = TIM2;
  htim2.Init.Prescaler = 16-1;
  htim2.Init.CounterMode = TIM_COUNTERMODE_UP;
  htim2.Init.Period = 20000-1;
  htim2.Init.ClockDivision = TIM_CLOCKDIVISION_DIV1;
  htim2.Init.AutoReloadPreload = TIM_AUTORELOAD_PRELOAD_ENABLE;
  if (HAL_TIM_Base_Init(&htim2) != HAL_OK)
  {
    Error_Handler();
  }
  sClockSourceConfig.ClockSource = TIM_CLOCKSOURCE_INTERNAL;
  if (HAL_TIM_ConfigClockSource(&htim2, &sClockSourceConfig) != HAL_OK)
  {
    Error_Handler();
  }
  if (HAL_TIM_PWM_Init(&htim2) != HAL_OK)
  {
    Error_Handler();
  }
  sMasterConfig.MasterOutputTrigger = TIM_TRGO_RESET;
  sMasterConfig.MasterSlaveMode = TIM_MASTERSLAVEMODE_DISABLE;
  if (HAL_TIMEx_MasterConfigSynchronization(&htim2, &sMasterConfig) != HAL_OK)
  {
    Error_Handler();
  }
  sConfigOC.OCMode = TIM_OCMODE_PWM1;
  sConfigOC.Pulse = 500-1;
  sConfigOC.OCPolarity = TIM_OCPOLARITY_HIGH;
  sConfigOC.OCFastMode = TIM_OCFAST_DISABLE;
  if (HAL_TIM_PWM_ConfigChannel(&htim2, &sConfigOC, TIM_CHANNEL_1) != HAL_OK)
  {
    Error_Handler();
  }
  HAL_TIM_MspPostInit(&htim2);

}

static void MX_TIM3_Init(void)
{

  TIM_ClockConfigTypeDef sClockSourceConfig = {0};
  TIM_MasterConfigTypeDef sMasterConfig = {0};
  TIM_OC_InitTypeDef sConfigOC = {0};

  htim3.Instance = TIM3;
  htim3.Init.Prescaler = 16-1;
  htim3.Init.CounterMode = TIM_COUNTERMODE_UP;
  htim3.Init.Period = 2000-1;
  htim3.Init.ClockDivision = TIM_CLOCKDIVISION_DIV1;
  htim3.Init.AutoReloadPreload = TIM_AUTORELOAD_PRELOAD_ENABLE;
  if (HAL_TIM_Base_Init(&htim3) != HAL_OK)
  {
    Error_Handler();
  }
  sClockSourceConfig.ClockSource = TIM_CLOCKSOURCE_INTERNAL;
  if (HAL_TIM_ConfigClockSource(&htim3, &sClockSourceConfig) != HAL_OK)
  {
    Error_Handler();
  }
  if (HAL_TIM_PWM_Init(&htim3) != HAL_OK)
  {
    Error_Handler();
  }
  sMasterConfig.MasterOutputTrigger = TIM_TRGO_RESET;
  sMasterConfig.MasterSlaveMode = TIM_MASTERSLAVEMODE_DISABLE;
  if (HAL_TIMEx_MasterConfigSynchronization(&htim3, &sMasterConfig) != HAL_OK)
  {
    Error_Handler();
  }
  sConfigOC.OCMode = TIM_OCMODE_PWM1;
  sConfigOC.Pulse = 0;
  sConfigOC.OCPolarity = TIM_OCPOLARITY_HIGH;
  sConfigOC.OCFastMode = TIM_OCFAST_DISABLE;
  if (HAL_TIM_PWM_ConfigChannel(&htim3, &sConfigOC, TIM_CHANNEL_1) != HAL_OK)
  {
    Error_Handler();
  }
  if (HAL_TIM_PWM_ConfigChannel(&htim3, &sConfigOC, TIM_CHANNEL_3) != HAL_OK)
  {
    Error_Handler();
  }
  HAL_TIM_MspPostInit(&htim3);

}

static void MX_TIM5_Init(void)
{

  TIM_ClockConfigTypeDef sClockSourceConfig = {0};
  TIM_MasterConfigTypeDef sMasterConfig = {0};

  htim5.Instance = TIM5;
  htim5.Init.Prescaler = 16000-1;
  htim5.Init.CounterMode = TIM_COUNTERMODE_UP;
  htim5.Init.Period = 1000-1;
  htim5.Init.ClockDivision = TIM_CLOCKDIVISION_DIV1;
  htim5.Init.AutoReloadPreload = TIM_AUTORELOAD_PRELOAD_ENABLE;
  if (HAL_TIM_Base_Init(&htim5) != HAL_OK)
  {
    Error_Handler();
  }
  sClockSourceConfig.ClockSource = TIM_CLOCKSOURCE_INTERNAL;
  if (HAL_TIM_ConfigClockSource(&htim5, &sClockSourceConfig) != HAL_OK)
  {
    Error_Handler();
  }
  sMasterConfig.MasterOutputTrigger = TIM_TRGO_RESET;
  sMasterConfig.MasterSlaveMode = TIM_MASTERSLAVEMODE_DISABLE;
  if (HAL_TIMEx_MasterConfigSynchronization(&htim5, &sMasterConfig) != HAL_OK)
  {
    Error_Handler();
  }

}

static void MX_USART1_UART_Init(void)
{

  huart1.Instance = USART1;
  huart1.Init.BaudRate = 9600;
  huart1.Init.WordLength = UART_WORDLENGTH_8B;
  huart1.Init.StopBits = UART_STOPBITS_1;
  huart1.Init.Parity = UART_PARITY_NONE;
  huart1.Init.Mode = UART_MODE_TX_RX;
  huart1.Init.HwFlowCtl = UART_HWCONTROL_NONE;
  huart1.Init.OverSampling = UART_OVERSAMPLING_16;
  if (HAL_UART_Init(&huart1) != HAL_OK)
  {
    Error_Handler();
  }

}

static void MX_USART2_UART_Init(void)
{

  huart2.Instance = USART2;
  huart2.Init.BaudRate = 115200;
  huart2.Init.WordLength = UART_WORDLENGTH_8B;
  huart2.Init.StopBits = UART_STOPBITS_1;
  huart2.Init.Parity = UART_PARITY_NONE;
  huart2.Init.Mode = UART_MODE_TX_RX;
  huart2.Init.HwFlowCtl = UART_HWCONTROL_NONE;
  huart2.Init.OverSampling = UART_OVERSAMPLING_16;
  if (HAL_UART_Init(&huart2) != HAL_OK)
  {
    Error_Handler();
  }

}

static void MX_USART6_UART_Init(void)
{

  huart6.Instance = USART6;
  huart6.Init.BaudRate = 9600;
  huart6.Init.WordLength = UART_WORDLENGTH_8B;
  huart6.Init.StopBits = UART_STOPBITS_1;
  huart6.Init.Parity = UART_PARITY_NONE;
  huart6.Init.Mode = UART_MODE_TX_RX;
  huart6.Init.HwFlowCtl = UART_HWCONTROL_NONE;
  huart6.Init.OverSampling = UART_OVERSAMPLING_16;
  if (HAL_UART_Init(&huart6) != HAL_OK)
  {
    Error_Handler();
  }

}

static void MX_GPIO_Init(void)
{
  GPIO_InitTypeDef GPIO_InitStruct = {0};

  /* GPIO Ports Clock Enable */
  __HAL_RCC_GPIOC_CLK_ENABLE();
  __HAL_RCC_GPIOH_CLK_ENABLE();
  __HAL_RCC_GPIOA_CLK_ENABLE();
  __HAL_RCC_GPIOB_CLK_ENABLE();

  /*Configure GPIO pin Output Level */
  HAL_GPIO_WritePin(GPIOA, LD2_Pin|BLUE_Pin|GREEN_Pin|RED_Pin, GPIO_PIN_RESET);

  /*Configure GPIO pin Output Level */
  HAL_GPIO_WritePin(GPIOC, DIGIT_B0_Pin|DIGIT_B1_Pin|DIGIT_B2_Pin, GPIO_PIN_RESET);

  /*Configure GPIO pin Output Level */
  HAL_GPIO_WritePin(GPIOB, DIGIT_A0_Pin|DIGIT_A1_Pin|DIGIT_B3_Pin|DIGIT_A2_Pin
                          |DIGIT_A3_Pin, GPIO_PIN_RESET);

  /*Configure GPIO pin : B1_Pin */
  GPIO_InitStruct.Pin = B1_Pin;
  GPIO_InitStruct.Mode = GPIO_MODE_IT_FALLING;
  GPIO_InitStruct.Pull = GPIO_NOPULL;
  HAL_GPIO_Init(B1_GPIO_Port, &GPIO_InitStruct);

  /*Configure GPIO pins : LD2_Pin BLUE_Pin GREEN_Pin RED_Pin */
  GPIO_InitStruct.Pin = LD2_Pin|BLUE_Pin|GREEN_Pin|RED_Pin;
  GPIO_InitStruct.Mode = GPIO_MODE_OUTPUT_PP;
  GPIO_InitStruct.Pull = GPIO_NOPULL;
  GPIO_InitStruct.Speed = GPIO_SPEED_FREQ_LOW;
  HAL_GPIO_Init(GPIOA, &GPIO_InitStruct);

  /*Configure GPIO pin : RPM_TICK_Pin */
  GPIO_InitStruct.Pin = RPM_TICK_Pin;
  GPIO_InitStruct.Mode = GPIO_MODE_IT_RISING;
  GPIO_InitStruct.Pull = GPIO_NOPULL;
  HAL_GPIO_Init(RPM_TICK_GPIO_Port, &GPIO_InitStruct);

  /*Configure GPIO pins : DIGIT_B0_Pin DIGIT_B1_Pin DIGIT_B2_Pin */
  GPIO_InitStruct.Pin = DIGIT_B0_Pin|DIGIT_B1_Pin|DIGIT_B2_Pin;
  GPIO_InitStruct.Mode = GPIO_MODE_OUTPUT_PP;
  GPIO_InitStruct.Pull = GPIO_NOPULL;
  GPIO_InitStruct.Speed = GPIO_SPEED_FREQ_LOW;
  HAL_GPIO_Init(GPIOC, &GPIO_InitStruct);

  /*Configure GPIO pins : DIGIT_A0_Pin DIGIT_A1_Pin DIGIT_B3_Pin DIGIT_A2_Pin
                           DIGIT_A3_Pin */
  GPIO_InitStruct.Pin = DIGIT_A0_Pin|DIGIT_A1_Pin|DIGIT_B3_Pin|DIGIT_A2_Pin
                          |DIGIT_A3_Pin;
  GPIO_InitStruct.Mode = GPIO_MODE_OUTPUT_PP;
  GPIO_InitStruct.Pull = GPIO_NOPULL;
  GPIO_InitStruct.Speed = GPIO_SPEED_FREQ_LOW;
  HAL_GPIO_Init(GPIOB, &GPIO_InitStruct);

  /* EXTI interrupt init*/
  HAL_NVIC_SetPriority(EXTI2_IRQn, 0, 0);
  HAL_NVIC_EnableIRQ(EXTI2_IRQn);

}

/* USER CODE BEGIN 4 */
void HAL_UART_RxCpltCallback(UART_HandleTypeDef * huart) {
  if (huart -> Instance == USART6) {
    rcv_intpt_flag = 1;
  }

  if (huart -> Instance == USART1) {
    us100_Rx_flag = 01; // this flag is set to show that an receiver interrupt has occurred
  }
}

void HAL_GPIO_EXTI_Callback(uint16_t GPIO_Pin) {
  if (GPIO_Pin == RPM_TICK_Pin) {
    rpm_tick_count += 1;
  }
}

/*
 * timer interrupt
 * total_seconds += 1
 * if total_seconds % delta_t (6s) == 0
 * calculate_rpm from rpm_tick_count over delta t
 * tick per 2s / 30 2s per minute / 20 ticks per rotation = rotations per minute
 * rpm_tick_count = 0
 * */

void HAL_TIM_PeriodElapsedCallback(TIM_HandleTypeDef * htim)
//void HAL_TIM_TriggerCallback(TIM_HandleTypeDef *htim)
{
  if (htim -> Instance == TIM5 && mode == 1) {
    counter++; //num of seconds

    if (counter % 6 == 0) {
      time_changed = 1;
      t_curr += 1;
      if (t_curr == 24) {
        t_curr = 0;
      }
    };
  }
}
/* USER CODE END 4 */

void Error_Handler(void)
{
  __disable_irq();
  while (1) {}
}
